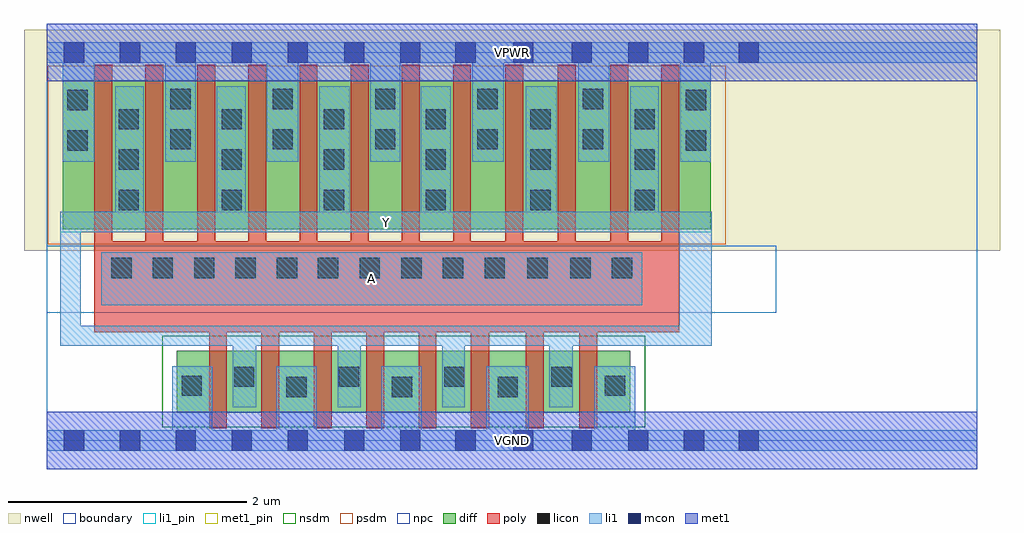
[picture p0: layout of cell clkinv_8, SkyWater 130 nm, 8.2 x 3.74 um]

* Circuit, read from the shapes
.subckt clkinv_8 A VGND VPWR Y
XM1 Y A VGND VSUBS sky130_fd_pr__nfet_01v8 w=0.52 l=0.15 m=7
XM2 VGND A Y VSUBS sky130_fd_pr__nfet_01v8 w=0.52 l=0.155
XM3 Y A VPWR n1 sky130_fd_pr__pfet_01v8 w=1.25 l=0.15 m=12
.ends

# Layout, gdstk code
import gdstk
lib = gdstk.Library(unit=1e-6, precision=1e-09)
def R(c, l, rs):  # rectangles x0, y0, x1, y1
    for r in rs: c.add(gdstk.rectangle(r[:2], r[2:], *l))
def A(c, l, x, y, w, h, nx, ny, dx, dy):  # array of equal rectangles
    R(c, l, [(x+i*dx, y+j*dy, x+i*dx+w, y+j*dy+h) for i in range(nx) for j in range(ny)])
nwell = (64, 20)
diff = (65, 20)
poly = (66, 20)
licon = (66, 44)
li1_pin = (67, 16)
li1 = (67, 20)
mcon = (67, 44)
met1_pin = (68, 16)
met1 = (68, 20)
nsdm = (93, 44)
psdm = (94, 20)
npc = (95, 20)
boundary = (235, 4)

clkinv_8 = lib.new_cell('clkinv_8')
R(clkinv_8, nwell, [(-0.19,1.595,8.01,3.45), (0,1.595,7.82,3.45)])
R(clkinv_8, diff, [(1.095,0.235,4.905,0.755), (0.135,1.775,5.58,3.025)])
A(clkinv_8, poly, 1.365, 0.105, 0.15, 1.57, 5, 1, 0.44, 0)
A(clkinv_8, poly, 1.265, 0.91, 0.15, 2.245, 6, 1, 0.43, 0)
A(clkinv_8, poly, 3.855, 0.91, 0.15, 2.245, 3, 1, 0.44, 0)
R(clkinv_8, poly, [(3.565,0.105,3.72,1.675), (4.025,0.105,4.175,1.675), (4.475,0.105,4.625,1.675), (0.4,0.91,5.315,1.675), (0.4,0.91,0.55,3.155), (0.83,0.91,0.98,3.155), (5.165,0.91,5.315,3.155)])
A(clkinv_8, licon, 2.28, 1.365, 0.17, 0.17, 5, 1, 0.35, 0)
A(clkinv_8, licon, 0.605, 1.935, 0.17, 0.17, 1, 3, 0, 0.34)
A(clkinv_8, licon, 1.47, 1.935, 0.17, 0.17, 1, 3, 0, 0.34)
A(clkinv_8, licon, 2.33, 1.935, 0.17, 0.17, 1, 3, 0, 0.34)
A(clkinv_8, licon, 3.185, 1.935, 0.17, 0.17, 1, 3, 0, 0.34)
A(clkinv_8, licon, 4.065, 1.935, 0.17, 0.17, 1, 3, 0, 0.34)
A(clkinv_8, licon, 4.94, 1.935, 0.17, 0.17, 1, 3, 0, 0.34)
A(clkinv_8, licon, 1.04, 2.445, 0.17, 0.17, 4, 2, 0.86, 0.34)
R(clkinv_8, licon, [(2.015,0.365,2.185,0.535), (2.9,0.365,3.07,0.535), (3.79,0.365,3.96,0.535), (1.135,0.375,1.305,0.545), (4.69,0.375,4.86,0.545), (1.575,0.45,1.745,0.62), (2.455,0.45,2.625,0.62), (3.34,0.45,3.51,0.62), (4.24,0.45,4.41,0.62), (0.545,1.365,0.715,1.535), (0.89,1.365,1.06,1.535), (1.24,1.365,1.41,1.535), (1.585,1.365,1.755,1.535), (1.935,1.365,2.105,1.535), (4.04,1.365,4.21,1.535), (4.4,1.365,4.57,1.535), (4.75,1.365,4.92,1.535), (0.175,2.435,0.345,2.605), (5.37,2.435,5.54,2.605), (4.505,2.445,4.675,2.615), (0.175,2.775,0.345,2.945), (5.37,2.775,5.54,2.945), (4.505,2.785,4.675,2.955)])
R(clkinv_8, li1_pin, [(0.46,1.135,5.005,1.58), (0.115,1.75,5.59,1.92)])
R(clkinv_8, li1, [(0,-0.085,7.82,0.085), (1.055,-0.085,1.39,0.625), (1.93,-0.085,2.27,0.625), (2.81,-0.085,3.15,0.625), (3.695,-0.085,4.05,0.625), (4.6,-0.085,4.945,0.625), (1.565,0.28,1.76,0.965), (2.445,0.28,2.64,0.965), (3.325,0.28,3.515,0.965), (4.225,0.28,4.42,0.965), (0.115,0.795,5.59,0.965), (0.115,0.795,0.285,1.92), (5.315,0.795,5.59,1.92), (0.46,1.135,5.005,1.58), (0.115,1.75,5.59,1.92), (0.575,1.75,0.815,2.975), (1.43,1.75,1.675,2.975), (2.29,1.75,2.545,2.975), (3.145,1.75,3.395,2.975), (4.025,1.75,4.285,2.975), (4.905,1.75,5.145,2.975), (0.135,2.34,0.4,3.345), (0.995,2.34,1.255,3.345), (1.85,2.34,2.115,3.345), (2.72,2.34,2.97,3.345), (3.575,2.34,3.84,3.345), (4.465,2.34,4.725,3.345), (5.325,2.34,5.58,3.345), (0,3.175,7.82,3.345)])
A(clkinv_8, mcon, 0.145, -0.085, 0.17, 0.17, 5, 2, 0.47, 3.26)
R(clkinv_8, mcon, [(2.5,-0.085,2.67,0.085), (2.97,-0.085,3.14,0.085), (3.435,-0.085,3.605,0.085), (3.92,-0.085,4.09,0.085), (4.41,-0.085,4.58,0.085), (4.885,-0.085,5.055,0.085), (5.355,-0.085,5.525,0.085), (5.815,-0.085,5.985,0.085), (2.5,3.175,2.67,3.345), (2.97,3.175,3.14,3.345), (3.435,3.175,3.605,3.345), (3.92,3.175,4.09,3.345), (4.41,3.175,4.58,3.345), (4.885,3.175,5.055,3.345), (5.355,3.175,5.525,3.345), (5.815,3.175,5.985,3.345)])
R(clkinv_8, met1_pin, [(0,-0.24,7.82,0.24), (0,3.02,7.82,3.5)])
R(clkinv_8, met1, [(0,-0.24,7.82,0.24), (0,3.02,7.82,3.5)])
R(clkinv_8, nsdm, [(0.97,0.11,5.03,0.88)])
R(clkinv_8, psdm, [(0.01,1.65,5.705,3.15)])
R(clkinv_8, npc, [(0,1.075,6.13,1.635)])
R(clkinv_8, boundary, [(0,0,7.82,3.26)])
clkinv_8.add(gdstk.Label('A', (2.732,1.357), layer=67, texttype=5))
clkinv_8.add(gdstk.Label('Y', (2.852,1.835), layer=67, texttype=5))
clkinv_8.add(gdstk.Label('VPWR', (3.91,3.26), layer=68, texttype=5))
clkinv_8.add(gdstk.Label('VGND', (3.91,0), layer=68, texttype=5))
clkinv_8.add(gdstk.Label('A', (2.732,1.357), layer=67, texttype=16))
clkinv_8.add(gdstk.Label('Y', (2.852,1.835), layer=67, texttype=16))
clkinv_8.add(gdstk.Label('VPWR', (3.91,3.26), layer=68, texttype=16))
clkinv_8.add(gdstk.Label('VGND', (3.91,0), layer=68, texttype=16))

lib.write_gds('clkinv_8.gds')
